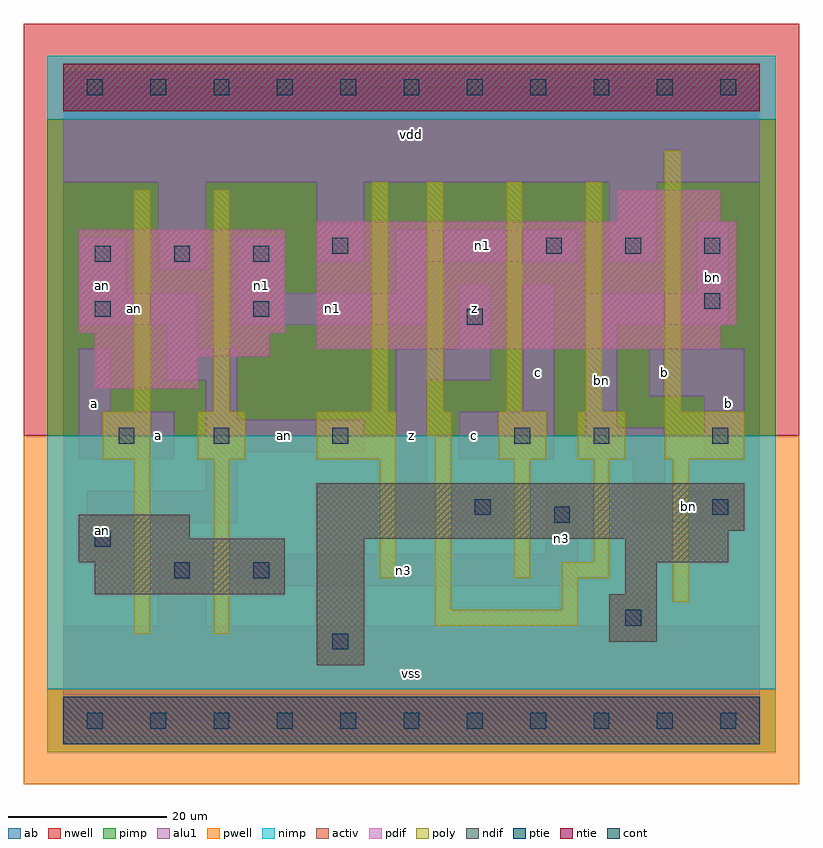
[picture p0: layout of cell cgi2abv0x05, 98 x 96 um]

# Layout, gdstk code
import gdstk
lib = gdstk.Library(unit=1e-6, precision=1e-09)
def R(c, l, rs):  # rectangles x0, y0, x1, y1
    for r in rs: c.add(gdstk.rectangle(r[:2], r[2:], *l))
def A(c, l, x, y, w, h, nx, ny, dx, dy):  # array of equal rectangles
    R(c, l, [(x+i*dx, y+j*dy, x+i*dx+w, y+j*dy+h) for i in range(nx) for j in range(ny)])
ndif = (3, 0)
pdif = (4, 0)
ntie = (5, 0)
ptie = (6, 0)
cont = (25, 0)
pwell = (41, 0)
nwell = (42, 0)
activ = (43, 0)
pimp = (44, 0)
nimp = (45, 0)
poly = (46, 0)
alu1 = (49, 0)
ab = (63, 0)

cgi2abv0x05 = lib.new_cell('cgi2abv0x05')
R(cgi2abv0x05, ndif, [(32,7,38,23), (69,10,75,16), (4,16,28,20), (71,16,75,20), (2,20,28,23), (71,20,84,23), (2,23,16,26), (32,23,84,24), (32,24,86,30)])
R(cgi2abv0x05, pdif, [(4,42,17,46), (4,46,26,49), (32,47,83,50), (2,49,28,62), (32,50,85,63), (70,63,83,67)])
R(cgi2abv0x05, ntie, [(0,77,88,83)])
R(cgi2abv0x05, ptie, [(0,-3,88,3)])
A(cgi2abv0x05, cont, 3, -1, 2, 2, 11, 2, 8, 80)
A(cgi2abv0x05, cont, 4, 58, 2, 2, 3, 1, 10, 0)
A(cgi2abv0x05, cont, 61, 59, 2, 2, 3, 1, 10, 0)
R(cgi2abv0x05, cont, [(34,9,36,11), (71,12,73,14), (14,18,16,20), (24,18,26,20), (4,22,6,24), (62,25,64,27), (52,26,54,28), (82,26,84,28), (7,35,9,37), (19,35,21,37), (34,35,36,37), (57,35,59,37), (67,35,69,37), (82,35,84,37), (51,50,53,52), (4,51,6,53), (24,51,26,53), (81,52,83,54), (34,59,36,61)])
R(cgi2abv0x05, pwell, [(-5,-8,93,36)])
R(cgi2abv0x05, nwell, [(-5,36,93,88)])
R(cgi2abv0x05, activ, [(0,-3,88,3), (32,7,38,23), (69,10,75,16), (4,16,28,20), (71,16,75,20), (2,20,28,23), (71,20,84,23), (2,23,16,26), (32,23,84,24), (32,24,86,30), (4,42,17,46), (4,46,26,49), (32,47,83,50), (2,49,28,62), (32,50,85,63), (70,63,83,67), (0,77,88,83)])
R(cgi2abv0x05, pimp, [(-2,-4,90,4), (-2,36,90,76)])
R(cgi2abv0x05, nimp, [(-2,4,90,36), (-2,76,90,84)])
A(cgi2abv0x05, poly, 46, 39, 2, 29, 3, 1, 10, 0)
R(cgi2abv0x05, poly, [(9,11,11,33), (19,11,21,33), (47,12,65,14), (47,14,49,36), (63,14,65,18), (77,15,79,33), (40,18,42,33), (57,18,59,33), (63,18,69,20), (67,20,69,33), (5,33,11,39), (17,33,23,39), (32,33,42,39), (55,33,61,39), (65,33,71,39), (76,33,86,39), (46,36,49,39), (9,39,11,67), (19,39,21,67), (39,39,41,68), (76,39,78,72)])
R(cgi2abv0x05, alu1, [(0,-2,88,12), (12,12,18,21), (70,12,74,16), (22,17,65,21), (3,20,7,25), (61,21,65,29), (3,25,22,29), (42,25,56,29), (72,25,86,29), (18,29,22,34), (42,29,46,43), (72,29,76,33), (2,33,14,39), (50,33,62,39), (66,33,76,37), (81,33,86,41), (18,34,38,38), (66,37,70,50), (18,38,22,43), (2,39,6,47), (58,39,62,55), (74,41,86,47), (13,43,22,47), (42,43,54,47), (13,47,17,50), (50,47,54,55), (2,50,17,54), (22,50,46,54), (66,50,84,54), (2,54,8,61), (22,54,28,61), (42,54,46,58), (80,54,84,63), (12,57,18,68), (32,58,38,68), (42,58,65,62), (69,58,75,68), (0,68,88,82)])
R(cgi2abv0x05, ab, [(0,0,88,80)])
cgi2abv0x05.add(gdstk.Label('an', (5,24), layer=49, texttype=0))
cgi2abv0x05.add(gdstk.Label('an', (5,55), layer=49, texttype=0))
cgi2abv0x05.add(gdstk.Label('an', (9,52), layer=49, texttype=0))
cgi2abv0x05.add(gdstk.Label('an', (28,36), layer=49, texttype=0))
cgi2abv0x05.add(gdstk.Label('n1', (25,55), layer=49, texttype=0))
cgi2abv0x05.add(gdstk.Label('n3', (63,23), layer=49, texttype=0))
cgi2abv0x05.add(gdstk.Label('n3', (43,19), layer=49, texttype=0))
cgi2abv0x05.add(gdstk.Label('n1', (34,52), layer=49, texttype=0))
cgi2abv0x05.add(gdstk.Label('n1', (53,60), layer=49, texttype=0))
cgi2abv0x05.add(gdstk.Label('bn', (79,27), layer=49, texttype=0))
cgi2abv0x05.add(gdstk.Label('bn', (68,43), layer=49, texttype=0))
cgi2abv0x05.add(gdstk.Label('bn', (82,56), layer=49, texttype=0))
cgi2abv0x05.add(gdstk.Label('a', (12,36), layer=49, texttype=0))
cgi2abv0x05.add(gdstk.Label('a', (4,40), layer=49, texttype=0))
cgi2abv0x05.add(gdstk.Label('vss', (44,6), layer=49, texttype=0))
cgi2abv0x05.add(gdstk.Label('z', (44,36), layer=49, texttype=0))
cgi2abv0x05.add(gdstk.Label('c', (52,36), layer=49, texttype=0))
cgi2abv0x05.add(gdstk.Label('c', (60,44), layer=49, texttype=0))
cgi2abv0x05.add(gdstk.Label('z', (52,52), layer=49, texttype=0))
cgi2abv0x05.add(gdstk.Label('vdd', (44,74), layer=49, texttype=0))
cgi2abv0x05.add(gdstk.Label('b', (76,44), layer=49, texttype=0))
cgi2abv0x05.add(gdstk.Label('b', (84,40), layer=49, texttype=0))

lib.write_gds('cgi2abv0x05.gds')
